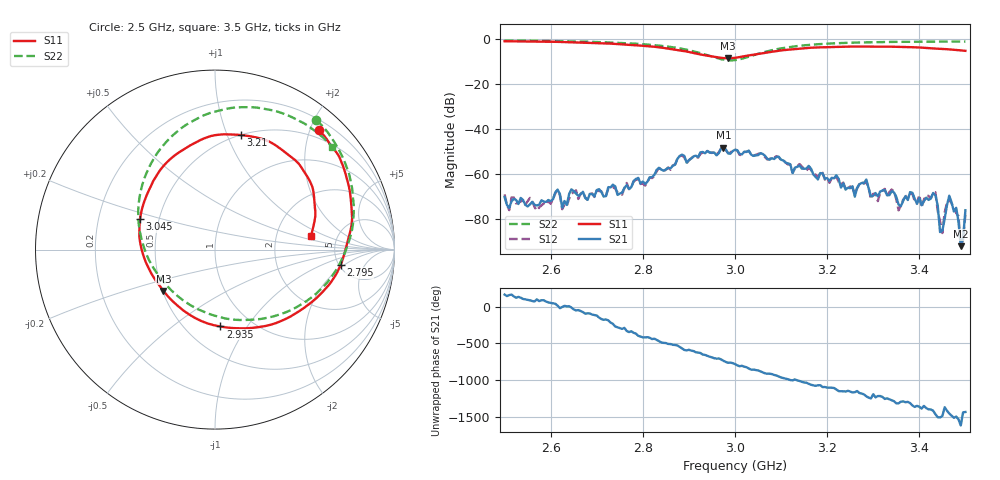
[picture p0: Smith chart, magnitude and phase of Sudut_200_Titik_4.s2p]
# Hz S RI R 50
! CMT, C1220, 16058040, 17.2.0/1
! Date: 15/08/2018 10:34:10
! Data: Format (Calibration Info)
! Freq  S11: Re/Im (F2)  S21: Re/Im (F2)  S12: Re/Im (F2)  S22: Re/Im (F2)
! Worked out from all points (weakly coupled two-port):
!   201 points, 2.5 GHz to 3.5 GHz, reference 50 ohm
!   highest |S21| = -48.42 dB at 2.975 GHz (marker M1); lowest = -92.1 dB at 3.49 GHz (marker M2)
!   lowest |S11| = -8.7 dB at 2.985 GHz (marker M3), VSWR 2.17, Z = 25.3 - j13.5 ohm
!   |S11| at or under -10 dB: nowhere
!   |S22| runs from -9.6 to -0.7 dB; largest |S21 - S12| = 0.00027
!   S11 on the Smith chart (normalised r, x): 2.5 GHz: 0.36, +2.14; 2.795 GHz: 5.16, -1.76; 2.935 GHz: 0.72, -0.76; 3.045 GHz: 0.39, +0.17; 3.21 GHz: 0.50, +1.12; 3.5 GHz: 3.18, +0.69
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2.5e9  0.5785 0.6663  -0.000299 5.46e-05  -0.000321 0.000141  0.5655 0.7224
2.51e9  0.5937 0.65  -0.00017 5.23e-05  -0.000144 6.13e-05  0.5766 0.7117
2.515e9  0.6013 0.642  -0.000242 4.09e-05  -0.000297 4.91e-05  0.582 0.7064
2.57e9  0.665 0.5574  -5.04e-05 0.000193  3.25e-05 0.000151  0.6428 0.6322
2.615e9  0.7098 0.4749  0.000425 0.000138  0.000411 0.000163  0.6885 0.5596
2.67e9  0.7489 0.3374  0.000136 -0.000377  0.000118 -0.000381  0.7365 0.4516
2.795e9  0.6999 -0.0856  0.000437 -0.000432  0.000406 -0.000435  0.7592 0.0921
2.835e9  0.6033 -0.2318  -0.000416 -0.0013  -0.00034 -0.00131  0.7029 -0.0627
2.935e9  0.0293 -0.4284  0.00129 0.00257  0.00116 0.00265  0.2165 -0.3899
2.975e9  -0.2334 -0.2899  0.00362 -0.00112  0.00349 -0.00113  -0.1023 -0.3292
2.985e9  -0.2869 -0.2306  0.00207 -0.00197  0.00216 -0.00194  -0.1757 -0.2841
3e9  -0.3535 -0.1355  0.0016 -0.00303  0.00152 -0.00312  -0.2719 -0.1975
3.045e9  -0.4181 0.1693  -0.00208 -0.00153  -0.0021 -0.00162  -0.4245 0.1385
3.17e9  -0.0055 0.6365  0.000965 0.000129  0.000958 0.000246  -0.0783 0.7407
3.21e9  0.1443 0.638  0.00073 -0.000366  0.000718 -0.000372  0.0666 0.7847
3.335e9  0.4658 0.4795  -0.000337 2.75e-05  -0.000392 4.04e-05  0.4032 0.749
3.355e9  0.4957 0.436  -0.000106 0.000179  -8.35e-05 0.00013  0.4412 0.7317
3.435e9  0.5552 0.2408  0.000293 -0.000163  0.000321 -0.000225  0.5723 0.6486
3.445e9  0.5588 0.2162  1.5e-05 -4.88e-05  6.85e-05 -5.6e-05  0.5867 0.6363
3.465e9  0.5562 0.1692  0.00031 -0.000106  0.00024 -0.000134  0.6115 0.6155
3.49e9  0.5422 0.1041  -2.48e-05 1.08e-06  -1.03e-05 -2.27e-05  0.6405 0.585
3.5e9  0.5339 0.0773  0.000156 5.65e-06  0.000119 3.46e-05  0.6518 0.5737
